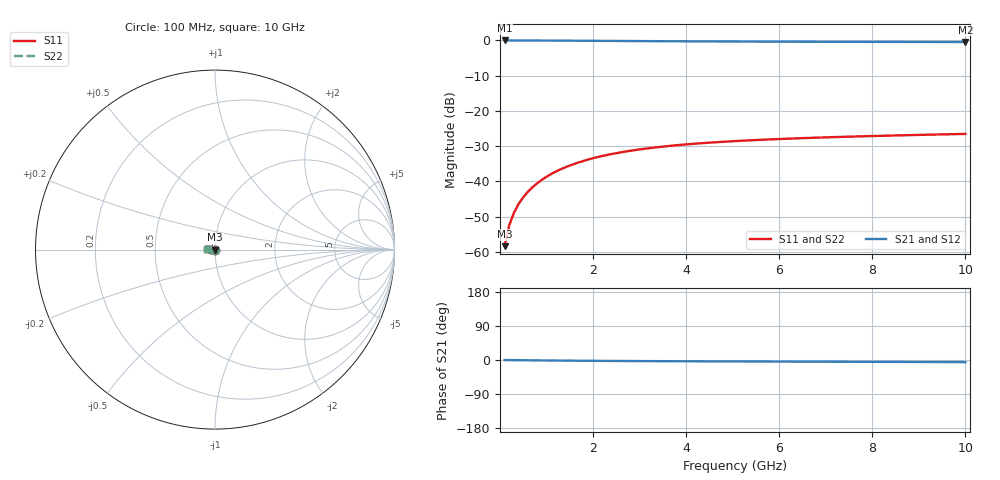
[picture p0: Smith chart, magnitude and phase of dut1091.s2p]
! Touchstone file exported from HFSS 2024.1.0
!  File:  C:/UserFiles/LocalFiles/RDL_TSV_Batchsim/temp_TSV1_1091_1780066333.aedt
!  Generated:  10:57:29 PM May 29, 2026
!  Design:  TSV1
!  Project:  temp_TSV1_1091_1780066333
!  Setup:  Setup1
!  Solution:  Sweep
! Variables:
!  dtsv = 9.16um
!  hbump = 3um
!  htsv = 87.24um
!  lrdl = 252.1521522um
!  p = 40
!  p1 = 48.74um
!  t = 500um
!  trdl = 3um
!  wrdl = 24.89489489um
# GHz S MA R 50.000000
! Terminal data exported
! Port[1] = TSV22_T1
! Port[2] = TSV22_T2
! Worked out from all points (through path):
!   100 points, 100 MHz to 10 GHz, reference 50 ohm
!   highest |S21| = 0.00 dB at 100 MHz (marker M1); lowest = -0.4 dB at 10 GHz (marker M2)
!   lowest |S11| = -58.4 dB at 100 MHz (marker M3), VSWR 1.00, Z = 50 - j0.12 ohm
!   |S11| at or under -10 dB: start of sweep to end of sweep
!   |S22| runs from -58.4 to -26.5 dB; largest |S21 - S12| = 4.3e-15
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0.1  0.001206 -83.1  0.9998 -0.1  0.9998 -0.1  0.001206 -83.1
! Gamma 0 0 0 0
! Port Impedance 50 0 50 0
0.2  0.002395 -89.0  0.9996 -0.3  0.9996 -0.3  0.002395 -89.0
0.3  0.003588 -92.2  0.9994 -0.4  0.9994 -0.4  0.003588 -92.2
0.4  0.004778 -94.7  0.9992 -0.5  0.9992 -0.5  0.004778 -94.7
0.5  0.005959 -96.9  0.9988 -0.6  0.9988 -0.6  0.005959 -96.9
0.6  0.007129 -99.0  0.9984 -0.8  0.9984 -0.8  0.007129 -99.0
0.7  0.008285 -101.0  0.9979 -0.9  0.9979 -0.9  0.008285 -101.0
0.8  0.009424 -102.9  0.9974 -1.0  0.9974 -1.0  0.009424 -102.9
0.9  0.01054 -104.8  0.9968 -1.1  0.9968 -1.1  0.01054 -104.8
1.1  0.01272 -108.4  0.9955 -1.3  0.9955 -1.3  0.01272 -108.4
1.4  0.01582 -113.5  0.9932 -1.6  0.9932 -1.6  0.01582 -113.5
1.6  0.01776 -116.8  0.9915 -1.8  0.9915 -1.8  0.01776 -116.8
1.8  0.01959 -119.9  0.9898 -2.0  0.9898 -2.0  0.01959 -119.9
2.1  0.02214 -124.3  0.9871 -2.3  0.9871 -2.3  0.02214 -124.3
2.5  0.02518 -129.9  0.9834 -2.6  0.9834 -2.6  0.02518 -129.9
2.9  0.02784 -135.0  0.9799 -2.8  0.9799 -2.8  0.02784 -135.0
3.4  0.03068 -140.8  0.9758 -3.1  0.9758 -3.1  0.03068 -140.8
4.2  0.03433 -148.9  0.9701 -3.5  0.9701 -3.5  0.03433 -148.9
5.1  0.03749 -156.6  0.9649 -3.8  0.9649 -3.8  0.03748 -156.6
6.7  0.04156 -167.9  0.9582 -4.4  0.9582 -4.4  0.04156 -167.9
8.4  0.04473 -177.5  0.9535 -5.0  0.9535 -5.0  0.04473 -177.5
10  0.04721 174.9  0.9505 -5.6  0.9505 -5.6  0.04721 174.9
